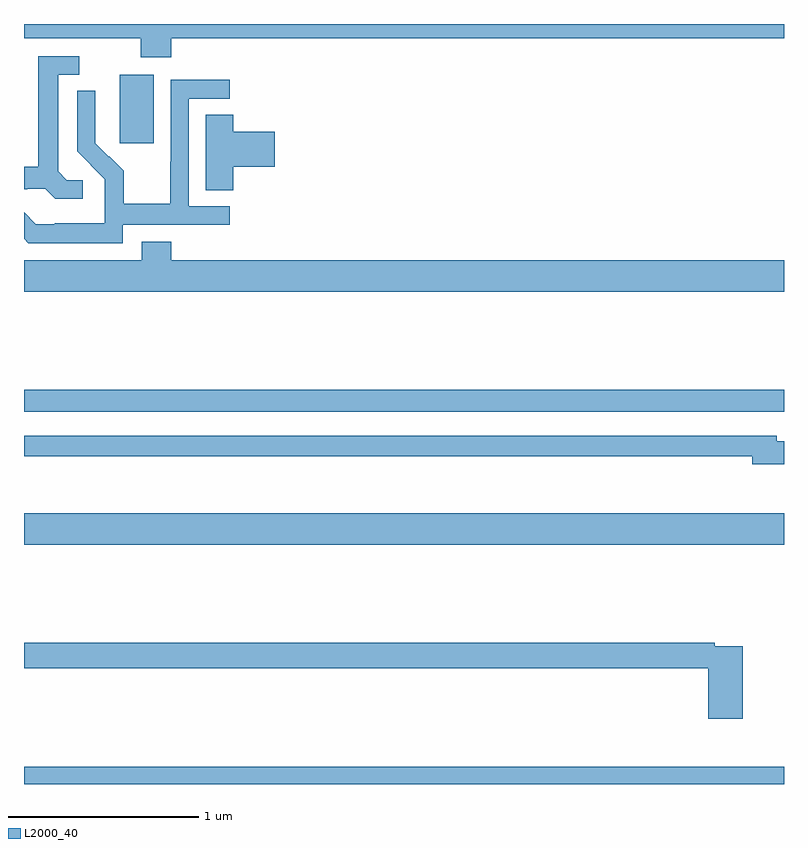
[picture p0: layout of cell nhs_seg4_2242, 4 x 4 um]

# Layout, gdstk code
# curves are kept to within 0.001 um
import gdstk
lib = gdstk.Library(unit=1e-6, precision=1e-09)
def R(c, l, rs):  # rectangles x0, y0, x1, y1
    for r in rs: c.add(gdstk.rectangle(r[:2], r[2:], *l))
def P(c, l, *ps):  # polygons
    for p in ps: c.add(gdstk.Polygon(p, *l))
L2000_40 = (2000, 40)

nhs_seg4_2242 = lib.new_cell('nhs_seg4_2242')
R(nhs_seg4_2242, L2000_40, [(227,788.9,231,788.992), (227,790.16,231,790.324), (227,790.86,231,790.976), (227.504,792.273,227.683,792.634)])
P(nhs_seg4_2242, L2000_40, [(227.774,792.824),(231,792.824),(231,792.9),(227,792.9),(227,792.824),(227.614,792.824),(227.614,792.725),(227.774,792.725)],
  [(227.308,792.078),(227.226,792.078),(227.179,792.125),(227.179,792.633),(227.29,792.633),(227.29,792.729),(227.075,792.729),(227.075,792.149),(227,792.149),(227,792.03),(227.018,792.03),(227.018,792.033),(227.112,792.033),(227.164,791.981),(227.308,791.981)],
  [(227.52,791.844),(228.082,791.844),(228.082,791.94),(227.868,791.94),(227.868,792.507),(228.082,792.507),(228.082,792.606),(227.772,792.606),(227.772,792.176),(227.77,792.176),(227.77,791.953),(227.525,791.953),(227.525,792.127),(227.448,792.204),(227.445,792.201),(227.375,792.272),(227.376,792.548),(227.28,792.548),(227.28,792.23),(227.426,792.082),(227.426,791.985),(227.424,791.985),(227.424,791.851),(227.161,791.851),(227.161,791.847),(227.061,791.847),(227,791.908),(227,791.77),(227.023,791.747),(227.52,791.747)],
  [(228.101,792.149),(228.319,792.149),(228.319,792.332),(228.101,792.332),(228.101,792.422),(227.957,792.422),(227.957,792.025),(228.101,792.025)],
  [(231,791.656),(227.774,791.656),(227.774,791.755),(227.621,791.755),(227.621,791.656),(227,791.656),(227,791.492),(231,791.492)],
  [(231,790.705),(230.962,790.705),(230.962,790.734),(227,790.734),(227,790.626),(230.834,790.626),(230.834,790.583),(231,790.583)],
  [(230.783,789.624),(230.636,789.624),(230.636,789.644),(227,789.644),(227,789.508),(230.6,789.508),(230.6,789.243),(230.783,789.243)])

lib.write_gds('nhs_seg4_2242.gds')
